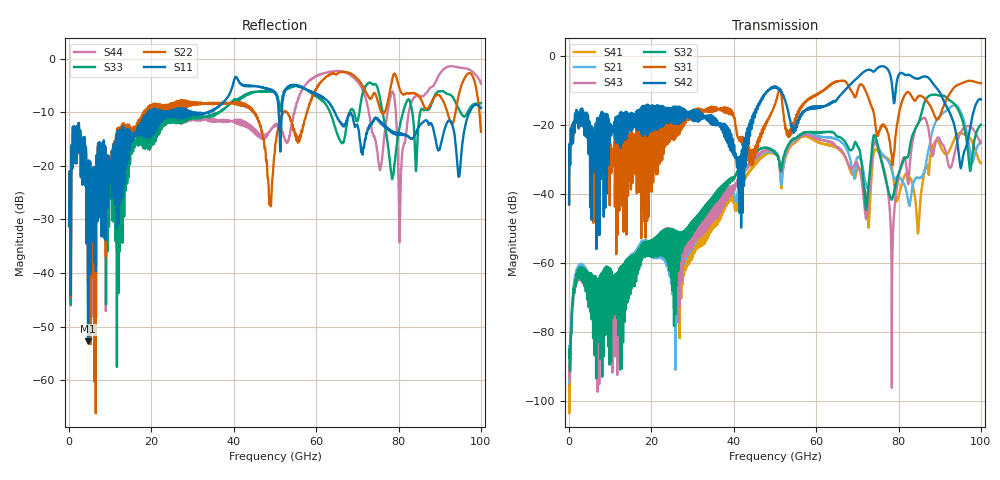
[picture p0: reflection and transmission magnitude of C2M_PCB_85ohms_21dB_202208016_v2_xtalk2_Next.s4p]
! Info: Touchstone file created by Circ.  Input file=Intel_C2M_200G_8p0in_202208016_staggered.circ
# Hz S RI R 50
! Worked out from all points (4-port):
!   10000 points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, 10 MHz to 100 GHz, reference 50 ohm
!   strongest paths, dB at 10 MHz, 25.01 GHz, 50.01 GHz, 75.01 GHz, 100 GHz:
!     S42: -42.9, -18.8, -9.2, -3.3, -12.5
!     S31: -43.0, -22.9, -14.0, -23.1, -7.8
!     S32: -85.7, -51.2, -27.8, -26.1, -19.8
!     S43: -89.6, -51.1, -27.7, -26.8, -25.2
!     S21: -94.9, -53.6, -28.0, -26.0, -24.6
!     S41: -93.3, -53.1, -28.1, -27.7, -31.0
!   lowest |S11| = -52.7 dB at 4.61 GHz (marker M1), VSWR 1.00, Z = 49.8 + j0.0997 ohm
!   |S11| at or under -10 dB: start of sweep to 19.31 GHz; 30.58 GHz to 33.59 GHz (3.008 GHz wide, 9.38 % of centre); 64.46 GHz to 97.24 GHz (32.78 GHz wide, 40.5 % of centre)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
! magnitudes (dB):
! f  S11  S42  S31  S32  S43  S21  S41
! 10 MHz  -31.2  -42.9  -43.0  -85.7  -89.6  -94.9  -93.3
! 4.61 GHz  -52.7  -17.4  -18.3  -63.0  -65.7  -62.5  -64.7
! 56.55 GHz  -5.4  -16.2  -14.5  -22.3  -22.8  -22.3  -23.1
! 74.51 GHz  -11.0  -3.9  -20.8  -23.7  -25.2  -24.6  -26.9
! 78.43 GHz  -13.9  -8.4  -30.0  -41.5  -65.7  -33.6  -32.8
! 85.08 GHz  -12.5  -6.4  -11.4  -18.5  -18.9  -35.4  -45.5
! 100 GHz  -9.2  -12.5  -7.8  -19.8  -25.2  -24.6  -31.0
